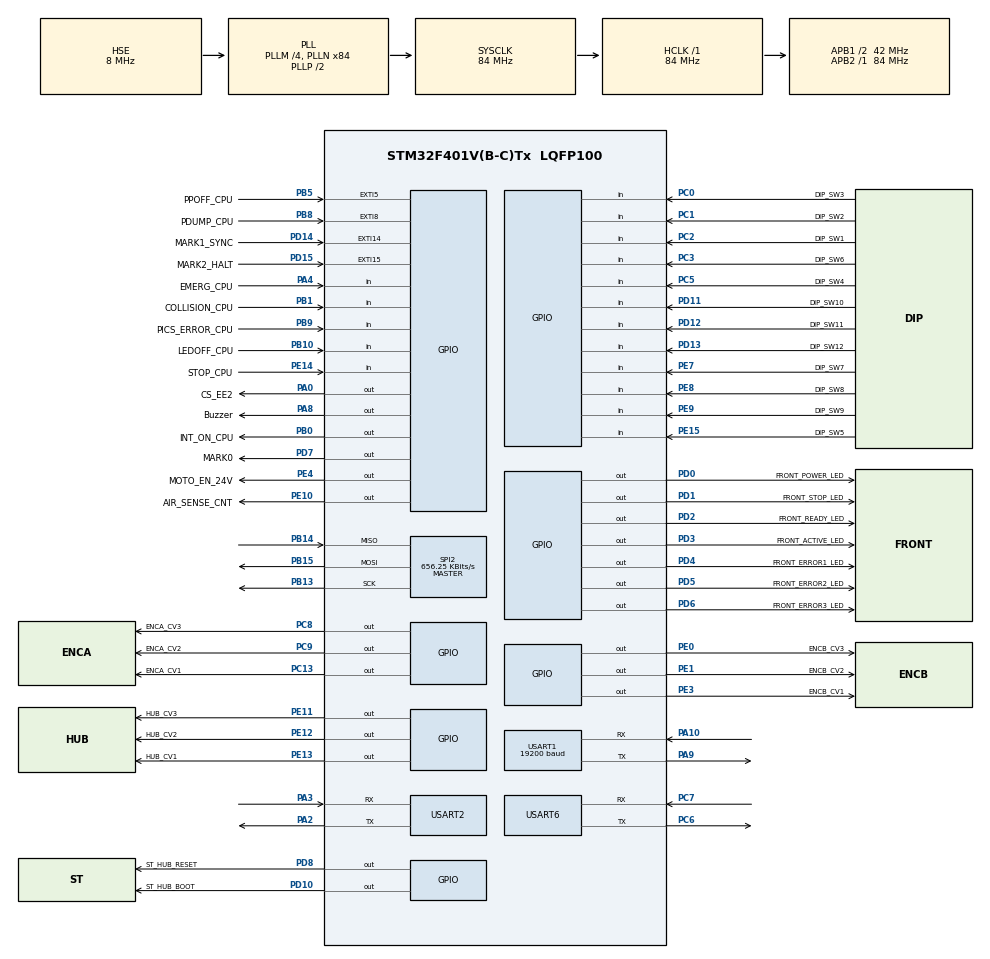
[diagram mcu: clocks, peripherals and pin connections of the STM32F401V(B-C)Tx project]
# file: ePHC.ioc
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Dma.Request0=USART1_TX
Dma.Request1=USART6_TX
Dma.USART1_TX.0.Direction=DMA_MEMORY_TO_PERIPH
Dma.USART1_TX.0.FIFOMode=DMA_FIFOMODE_DISABLE
Dma.USART1_TX.0.Instance=DMA2_Stream7
Dma.USART1_TX.0.MemDataAlignment=DMA_MDATAALIGN_BYTE
Dma.USART1_TX.0.MemInc=DMA_MINC_ENABLE
Dma.USART1_TX.0.Mode=DMA_NORMAL
Dma.USART1_TX.0.PeriphDataAlignment=DMA_PDATAALIGN_BYTE
Dma.USART1_TX.0.PeriphInc=DMA_PINC_DISABLE
Dma.USART1_TX.0.Priority=DMA_PRIORITY_LOW
Dma.USART6_TX.1.Direction=DMA_MEMORY_TO_PERIPH
Dma.USART6_TX.1.FIFOMode=DMA_FIFOMODE_DISABLE
Dma.USART6_TX.1.Instance=DMA2_Stream6
Dma.USART6_TX.1.MemDataAlignment=DMA_MDATAALIGN_BYTE
Dma.USART6_TX.1.MemInc=DMA_MINC_ENABLE
Dma.USART6_TX.1.Mode=DMA_NORMAL
Dma.USART6_TX.1.PeriphDataAlignment=DMA_PDATAALIGN_BYTE
Dma.USART6_TX.1.PeriphInc=DMA_PINC_DISABLE
Dma.USART6_TX.1.Priority=DMA_PRIORITY_LOW
FREERTOS.BinarySemaphores01=Uart6TxSem,Dynamic,NULL,Available;Uart1TxSem,Dynamic,NULL,Available
FREERTOS.INCLUDE_xEventGroupSetBitFromISR=0
FREERTOS.Mutexes01=SIgnalMutex,Dynamic,NULL,Available
FREERTOS.Tasks01=TaskUART1,8,128,StartTaskUART1,Default,NULL,Dynamic,NULL,NULL;TaskUART6,8,128,StartTaskUART6,Default,NULL,Dynamic,NULL,NULL;TaskReadDs,32,128,StartTaskReadDs,Default,NULL,Dynamic,NULL,NULL;TaskSYNC,55,128,StartTaskSYNC,Default,NULL,Dynamic,NULL,NULL;TaskHALT,55,128,StartTaskHALT,Default,NULL,Dynamic,NULL,NULL
FREERTOS.configTIMER_TASK_PRIORITY=32
FREERTOS.configUSE_NEWLIB_REENTRANT=1
Mcu.Family=STM32F4
Mcu.Name=STM32F401V(B-C)Tx
Mcu.Package=LQFP100
NVIC.DMA2_Stream6_IRQn=true\:5\:0\:false\:false\:true\:true\:false\:true\:true
NVIC.DMA2_Stream7_IRQn=true\:5\:0\:false\:false\:true\:true\:false\:true\:true
NVIC.EXTI15_10_IRQn=true\:5\:0\:false\:false\:true\:true\:true\:true\:true
NVIC.EXTI9_5_IRQn=true\:5\:0\:false\:false\:true\:true\:true\:true\:true
NVIC.PriorityGroup=NVIC_PRIORITYGROUP_4
NVIC.TIM1_BRK_TIM9_IRQn=true\:5\:0\:false\:false\:true\:true\:true\:true\:true
NVIC.TIM1_TRG_COM_TIM11_IRQn=true\:5\:0\:false\:false\:true\:true\:true\:true\:true
NVIC.TIM1_UP_TIM10_IRQn=true\:5\:0\:false\:false\:true\:true\:true\:true\:true
NVIC.TIM2_IRQn=true\:15\:0\:false\:false\:true\:false\:false\:true\:true
NVIC.TIM5_IRQn=true\:5\:0\:false\:false\:true\:true\:true\:true\:true
NVIC.TimeBase=TIM2_IRQn
NVIC.TimeBaseIP=TIM2
NVIC.USART1_IRQn=true\:5\:0\:false\:false\:true\:true\:true\:true\:true
NVIC.USART2_IRQn=true\:5\:0\:false\:false\:true\:true\:true\:true\:true
NVIC.USART6_IRQn=true\:5\:0\:false\:false\:true\:true\:true\:true\:true
PA0-WKUP.GPIO_Label=CS_EE2
PA0-WKUP.Signal=GPIO_Output
PA10.Mode=Asynchronous
PA10.Signal=USART1_RX
PA13.Mode=JTAG_5_pins
PA13.Signal=SYS_JTMS-SWDIO
PA14.Mode=JTAG_5_pins
PA14.Signal=SYS_JTCK-SWCLK
PA15.Mode=JTAG_5_pins
PA15.Signal=SYS_JTDI
PA2.Mode=Asynchronous
PA2.Signal=USART2_TX
PA3.Mode=Asynchronous
PA3.Signal=USART2_RX
PA4.GPIO_Label=EMERG_CPU
PA4.Signal=GPIO_Input
PA8.GPIO_Label=Buzzer
PA8.Signal=GPIO_Output
PA9.Mode=Asynchronous
PA9.Signal=USART1_TX
PB0.GPIO_Label=INT_ON_CPU
PB0.Signal=GPIO_Output
PB1.GPIO_Label=COLLISION_CPU
PB1.Signal=GPIO_Input
PB10.GPIO_Label=LEDOFF_CPU
PB10.Signal=GPIO_Input
PB13.Mode=Full_Duplex_Master
PB13.Signal=SPI2_SCK
PB14.Mode=Full_Duplex_Master
PB14.Signal=SPI2_MISO
PB15.Mode=Full_Duplex_Master
PB15.Signal=SPI2_MOSI
PB3.Mode=JTAG_5_pins
PB3.Signal=SYS_JTDO-SWO
PB4.Mode=JTAG_5_pins
PB4.Signal=SYS_JTRST
PB5.GPIO_Label=PPOFF_CPU
PB5.GPIO_ModeDefaultEXTI=GPIO_MODE_IT_RISING_FALLING
PB5.Signal=GPXTI5
PB8.GPIO_Label=PDUMP_CPU
PB8.GPIO_ModeDefaultEXTI=GPIO_MODE_IT_RISING_FALLING
PB8.Signal=GPXTI8
PB9.GPIO_Label=PICS_ERROR_CPU
PB9.Signal=GPIO_Input
PC0.GPIO_Label=DIP_SW3
PC0.Signal=GPIO_Input
PC1.GPIO_Label=DIP_SW2
PC1.Signal=GPIO_Input
PC13-ANTI_TAMP.GPIO_Label=ENCA_CV1
PC13-ANTI_TAMP.Signal=GPIO_Output
PC2.GPIO_Label=DIP_SW1
PC2.Signal=GPIO_Input
PC3.GPIO_Label=DIP_SW6
PC3.Signal=GPIO_Input
PC5.GPIO_Label=DIP_SW4
PC5.Signal=GPIO_Input
PC6.Mode=Asynchronous
PC6.Signal=USART6_TX
PC7.Mode=Asynchronous
PC7.Signal=USART6_RX
PC8.GPIO_Label=ENCA_CV3
PC8.Signal=GPIO_Output
PC9.GPIO_Label=ENCA_CV2
PC9.Signal=GPIO_Output
PD0.GPIO_Label=FRONT_POWER_LED
PD0.Signal=GPIO_Output
PD1.GPIO_Label=FRONT_STOP_LED
PD1.Signal=GPIO_Output
PD10.GPIO_Label=ST_HUB_BOOT
PD10.Signal=GPIO_Output
PD11.GPIO_Label=DIP_SW10
PD11.Signal=GPIO_Input
PD12.GPIO_Label=DIP_SW11
PD12.Signal=GPIO_Input
PD13.GPIO_Label=DIP_SW12
PD13.Signal=GPIO_Input
PD14.GPIO_Label=MARK1_SYNC
PD14.GPIO_ModeDefaultEXTI=GPIO_MODE_IT_RISING_FALLING
PD14.Signal=GPXTI14
PD15.GPIO_Label=MARK2_HALT
PD15.GPIO_ModeDefaultEXTI=GPIO_MODE_IT_RISING_FALLING
PD15.Signal=GPXTI15
PD2.GPIO_Label=FRONT_READY_LED
PD2.Signal=GPIO_Output
PD3.GPIO_Label=FRONT_ACTIVE_LED
PD3.Signal=GPIO_Output
PD4.GPIO_Label=FRONT_ERROR1_LED
PD4.Signal=GPIO_Output
PD5.GPIO_Label=FRONT_ERROR2_LED
PD5.Signal=GPIO_Output
PD6.GPIO_Label=FRONT_ERROR3_LED
PD6.Signal=GPIO_Output
PD7.GPIO_Label=MARK0
PD7.Signal=GPIO_Output
PD8.GPIO_Label=ST_HUB_RESET
PD8.Signal=GPIO_Output
PE0.GPIO_Label=ENCB_CV3
PE0.Signal=GPIO_Output
PE1.GPIO_Label=ENCB_CV2
PE1.Signal=GPIO_Output
PE10.GPIO_Label=AIR_SENSE_CNT
PE10.PinState=GPIO_PIN_SET
PE10.Signal=GPIO_Output
PE11.GPIO_Label=HUB_CV3
PE11.Signal=GPIO_Output
PE12.GPIO_Label=HUB_CV2
PE12.Signal=GPIO_Output
PE13.GPIO_Label=HUB_CV1
PE13.Signal=GPIO_Output
PE14.GPIO_Label=STOP_CPU
PE14.Signal=GPIO_Input
PE15.GPIO_Label=DIP_SW5
PE15.Signal=GPIO_Input
PE3.GPIO_Label=ENCB_CV1
PE3.Signal=GPIO_Output
PE4.GPIO_Label=MOTO_EN_24V
PE4.Signal=GPIO_Output
PE7.GPIO_Label=DIP_SW7
PE7.Signal=GPIO_Input
PE8.GPIO_Label=DIP_SW8
PE8.Signal=GPIO_Input
PE9.GPIO_Label=DIP_SW9
PE9.Signal=GPIO_Input
PH0\ -\ OSC_IN.Mode=HSE-External-Oscillator
PH0\ -\ OSC_IN.Signal=RCC_OSC_IN
PH1\ -\ OSC_OUT.Mode=HSE-External-Oscillator
PH1\ -\ OSC_OUT.Signal=RCC_OSC_OUT
ProjectManager.HeapSize=0x200
ProjectManager.StackSize=0x400
ProjectManager.TargetToolchain=CMake
RCC.48MHZClocksFreq_Value=42000000
RCC.AHBFreq_Value=84000000
RCC.APB1CLKDivider=RCC_HCLK_DIV2
RCC.APB1Freq_Value=42000000
RCC.APB1TimFreq_Value=84000000
RCC.APB2Freq_Value=84000000
RCC.APB2TimFreq_Value=84000000
RCC.CortexFreq_Value=84000000
RCC.HCLKFreq_Value=84000000
RCC.HSE_VALUE=8000000
RCC.HSI_VALUE=16000000
RCC.LSE_VALUE=32768
RCC.PLLM=4
RCC.PLLN=84
RCC.PLLSourceVirtual=RCC_PLLSOURCE_HSE
RCC.SYSCLKFreq_VALUE=84000000
RCC.SYSCLKSource=RCC_SYSCLKSOURCE_PLLCLK
RCC.VCOOutputFreq_Value=168000000
SPI2.BaudRatePrescaler=SPI_BAUDRATEPRESCALER_64
SPI2.CalculateBaudRate=656.25 KBits/s
SPI2.Direction=SPI_DIRECTION_2LINES
SPI2.Mode=SPI_MODE_MASTER
SPI2.VirtualType=VM_MASTER
TIM10.Period=10000
TIM10.Prescaler=840
TIM11.Period=50000
TIM11.Prescaler=8400
TIM5.AutoReloadPreload=TIM_AUTORELOAD_PRELOAD_ENABLE
TIM5.Period=100 - 1
TIM5.Prescaler=84 - 1
TIM9.AutoReloadPreload=TIM_AUTORELOAD_PRELOAD_ENABLE
TIM9.Period=1000-1
TIM9.Prescaler=84-1
USART1.BaudRate=19200
USART1.VirtualMode=VM_ASYNC
USART2.VirtualMode=VM_ASYNC
USART6.VirtualMode=VM_ASYNC
VP_FREERTOS_VS_CMSIS_V2.Mode=CMSIS_V2
VP_SYS_VS_tim2.Mode=TIM2
VP_TIM10_VS_ClockSourceINT.Mode=Enable_Timer
VP_TIM11_VS_ClockSourceINT.Mode=Enable_Timer
VP_TIM5_VS_ClockSourceINT.Mode=Internal
VP_TIM9_VS_ClockSourceINT.Mode=Internal
board=custom

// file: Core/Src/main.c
/* USER CODE BEGIN Header */
/**
 ******************************************************************************
 * @file           : main.c
 * @brief          : Main program body
 ******************************************************************************
 * @attention
 *
 * Copyright (c) 2025 STMicroelectronics.
 * All rights reserved.
 *
 * This software is licensed under terms that can be found in the LICENSE file
 * in the root directory of this software component.
 * If no LICENSE file comes with this software, it is provided AS-IS.
 *
 ******************************************************************************
 */
/* USER CODE END Header */
#include "main.h"
#include "cmsis_os.h"

/* USER CODE BEGIN Includes */
#include "communication.h"
/* USER CODE END Includes */

SPI_HandleTypeDef hspi2;

TIM_HandleTypeDef htim5;
TIM_HandleTypeDef htim9;
TIM_HandleTypeDef htim10;
TIM_HandleTypeDef htim11;

UART_HandleTypeDef huart1;
UART_HandleTypeDef huart2;
UART_HandleTypeDef huart6;
DMA_HandleTypeDef hdma_usart1_tx;
DMA_HandleTypeDef hdma_usart6_tx;

/* Definitions for TaskUART1 */
osThreadId_t TaskUART1Handle;
/**
 * @brief UART1 Communication Task - Handles incoming data from CMM Controller
 * @details Stack increased to 2048 bytes (512*4) to accommodate nested function calls
 *          and local variable storage without stack overflow risk.
 *          Memory usage: 5 tasks × 2KB = 10KB (16% of 64KB available RAM)
 */
const osThreadAttr_t TaskUART1_attributes = {
    .name = "TaskUART1",
    .stack_size = 512 * 4, /* FIXED: Increased from 128*4 (512B) to 512*4 (2048B) to prevent stack overflow */
    .priority = (osPriority_t)osPriorityLow,
};
/* Definitions for TaskUART6 */
osThreadId_t TaskUART6Handle;
const osThreadAttr_t TaskUART6_attributes = {
    .name = "TaskUART6",
    .stack_size = 512 * 4,
    .priority = (osPriority_t)osPriorityLow,
};
/* Definitions for TaskReadDs */
osThreadId_t TaskReadDsHandle;
const osThreadAttr_t TaskReadDs_attributes = {
    .name = "TaskReadDs",
    .stack_size = 512 * 4,
    .priority = (osPriority_t)osPriorityAboveNormal,
};
/* Definitions for TaskSYNC */
osThreadId_t TaskSYNCHandle;
const osThreadAttr_t TaskSYNC_attributes = {
    .name = "TaskSYNC",
    .stack_size = 512 * 4,
    .priority = (osPriority_t)osPriorityRealtime7,
};
/* Definitions for TaskHALT */
osThreadId_t TaskHALTHandle;
const osThreadAttr_t TaskHALT_attributes = {
    .name = "TaskHALT",
    .stack_size = 512 * 4,
    .priority = (osPriority_t)osPriorityRealtime7,
};
/**
 * @brief Signal Mutex - Protects shared resources between HALT and SYNC tasks
 * @details Prevents race conditions when accessing u8IsFirstHaltArrived and u8IsInTp20Measurement
 */
extern osMutexId_t SignalMutexHandle;
const osMutexAttr_t SignalMutex_attributes = {
    .name = "SignalMutex"};
/* Definitions for Uart6TxSem */
osSemaphoreId_t Uart6TxSemHandle;
const osSemaphoreAttr_t Uart6TxSem_attributes = {
    .name = "Uart6TxSem"};
/* Definitions for Uart1TxSem */
osSemaphoreId_t Uart1TxSemHandle;
const osSemaphoreAttr_t Uart1TxSem_attributes = {
    .name = "Uart1TxSem"};

void SystemClock_Config(void);
static void MX_GPIO_Init(void);
static void MX_DMA_Init(void);
static void MX_SPI2_Init(void);
static void MX_USART1_UART_Init(void);
static void MX_USART2_UART_Init(void);
static void MX_USART6_UART_Init(void);
static void MX_TIM9_Init(void);
static void MX_TIM5_Init(void);
static void MX_TIM10_Init(void);
static void MX_TIM11_Init(void);
void StartTaskUART1(void *argument);
void StartTaskUART6(void *argument);
void StartTaskReadDs(void *argument);
void StartTaskSYNC(void *argument);
void StartTaskHALT(void *argument);

int main(void)
{

  /* MCU Configuration--------------------------------------------------------*/

  /* Reset of all peripherals, Initializes the Flash interface and the Systick. */
  HAL_Init();

  /* Configure the system clock */
  SystemClock_Config();

  /* USER CODE BEGIN SysInit */
  HAL_Delay(20000); // Wait for 20 seconds to allow Communication stabilization
  /* USER CODE END SysInit */

  /* Initialize all configured peripherals */
  MX_GPIO_Init();
  MX_DMA_Init();
  MX_SPI2_Init();
  MX_USART1_UART_Init();
  MX_USART2_UART_Init();
  MX_USART6_UART_Init();
  MX_TIM9_Init();
  MX_TIM5_Init();
  MX_TIM10_Init();
  MX_TIM11_Init();
  /* USER CODE BEGIN 2 */
  Initialize();
  EmptyUartBuffers();
  HAL_UART_Receive_IT(&huart1, (uint8_t *)au8RxBufCmm.uaiDataArray, 1);
  HAL_UART_Receive_IT(&huart6, (uint8_t *)au8RxBufAcs.uaiDataArray, 1);

  /* USER CODE END 2 */

  /* Init scheduler */
  osKernelInitialize();
  /* Create the mutex(es) */
  /* creation of SignalMutex */
  SignalMutexHandle = osMutexNew(&SignalMutex_attributes);

  /* Create the semaphores(s) */
  /* creation of Uart6TxSem */
  Uart6TxSemHandle = osSemaphoreNew(1, 1, &Uart6TxSem_attributes);

  /* creation of Uart1TxSem */
  Uart1TxSemHandle = osSemaphoreNew(1, 1, &Uart1TxSem_attributes);

  /* Create the thread(s) */
  /* creation of TaskUART1 */
  TaskUART1Handle = osThreadNew(StartTaskUART1, NULL, &TaskUART1_attributes);
  /* FIX: Verify thread creation - if NULL allocation fails, RTOS cannot operate */
  if (TaskUART1Handle == NULL)
    Error_Handler();

  /* creation of TaskUART6 */
  TaskUART6Handle = osThreadNew(StartTaskUART6, NULL, &TaskUART6_attributes);
  /* FIX: Verify thread creation - this task handles critical ACS communication */
  if (TaskUART6Handle == NULL)
    Error_Handler();

  /* creation of TaskReadDs */
  TaskReadDsHandle = osThreadNew(StartTaskReadDs, NULL, &TaskReadDs_attributes);
  /* FIX: Verify thread creation - prevents system crash if memory allocation fails */
  if (TaskReadDsHandle == NULL)
    Error_Handler();

  /* creation of TaskSYNC */
  TaskSYNCHandle = osThreadNew(StartTaskSYNC, NULL, &TaskSYNC_attributes);
  /* FIX: Verify thread creation - synchronization task is real-time critical */
  if (TaskSYNCHandle == NULL)
    Error_Handler();

  /* creation of TaskHALT */
  TaskHALTHandle = osThreadNew(StartTaskHALT, NULL, &TaskHALT_attributes);
  /* FIX: Verify thread creation - handles critical hardware shutdown signals */
  if (TaskHALTHandle == NULL)
    Error_Handler();

  /* Start scheduler */
  osKernelStart();

  /* We should never get here as control is now taken by the scheduler */

  /* Infinite loop */
  while (1)
  {

  }
}

void SystemClock_Config(void)
{
  RCC_OscInitTypeDef RCC_OscInitStruct = {0};
  RCC_ClkInitTypeDef RCC_ClkInitStruct = {0};

  /** Configure the main internal regulator output voltage
   */
  __HAL_RCC_PWR_CLK_ENABLE();
  __HAL_PWR_VOLTAGESCALING_CONFIG(PWR_REGULATOR_VOLTAGE_SCALE2);

  /** Initializes the RCC Oscillators according to the specified parameters
   * in the RCC_OscInitTypeDef structure.
   */
  RCC_OscInitStruct.OscillatorType = RCC_OSCILLATORTYPE_HSE;
  RCC_OscInitStruct.HSEState = RCC_HSE_ON;
  RCC_OscInitStruct.PLL.PLLState = RCC_PLL_ON;
  RCC_OscInitStruct.PLL.PLLSource = RCC_PLLSOURCE_HSE;
  RCC_OscInitStruct.PLL.PLLM = 4;
  RCC_OscInitStruct.PLL.PLLN = 84;
  RCC_OscInitStruct.PLL.PLLP = RCC_PLLP_DIV2;
  RCC_OscInitStruct.PLL.PLLQ = 4;
  if (HAL_RCC_OscConfig(&RCC_OscInitStruct) != HAL_OK)
  {
    Error_Handler();
  }

  /** Initializes the CPU, AHB and APB buses clocks
   */
  RCC_ClkInitStruct.ClockType = RCC_CLOCKTYPE_HCLK | RCC_CLOCKTYPE_SYSCLK | RCC_CLOCKTYPE_PCLK1 | RCC_CLOCKTYPE_PCLK2;
  RCC_ClkInitStruct.SYSCLKSource = RCC_SYSCLKSOURCE_PLLCLK;
  RCC_ClkInitStruct.AHBCLKDivider = RCC_SYSCLK_DIV1;
  RCC_ClkInitStruct.APB1CLKDivider = RCC_HCLK_DIV2;
  RCC_ClkInitStruct.APB2CLKDivider = RCC_HCLK_DIV1;

  if (HAL_RCC_ClockConfig(&RCC_ClkInitStruct, FLASH_LATENCY_2) != HAL_OK)
  {
    Error_Handler();
  }
}

static void MX_SPI2_Init(void)
{

  /* SPI2 parameter configuration*/
  hspi2.Instance = SPI2;
  hspi2.Init.Mode = SPI_MODE_MASTER;
  hspi2.Init.Direction = SPI_DIRECTION_2LINES;
  hspi2.Init.DataSize = SPI_DATASIZE_8BIT;
  hspi2.Init.CLKPolarity = SPI_POLARITY_LOW;
  hspi2.Init.CLKPhase = SPI_PHASE_1EDGE;
  hspi2.Init.NSS = SPI_NSS_SOFT;
  hspi2.Init.BaudRatePrescaler = SPI_BAUDRATEPRESCALER_64;
  hspi2.Init.FirstBit = SPI_FIRSTBIT_MSB;
  hspi2.Init.TIMode = SPI_TIMODE_DISABLE;
  hspi2.Init.CRCCalculation = SPI_CRCCALCULATION_DISABLE;
  hspi2.Init.CRCPolynomial = 10;
  if (HAL_SPI_Init(&hspi2) != HAL_OK)
  {
    Error_Handler();
  }
}

static void MX_TIM5_Init(void)
{

  TIM_ClockConfigTypeDef sClockSourceConfig = {0};
  TIM_MasterConfigTypeDef sMasterConfig = {0};

  htim5.Instance = TIM5;
  htim5.Init.Prescaler = 84 - 1;
  htim5.Init.CounterMode = TIM_COUNTERMODE_UP;
  htim5.Init.Period = 100 - 1;
  htim5.Init.ClockDivision = TIM_CLOCKDIVISION_DIV1;
  htim5.Init.AutoReloadPreload = TIM_AUTORELOAD_PRELOAD_ENABLE;
  if (HAL_TIM_Base_Init(&htim5) != HAL_OK)
  {
    Error_Handler();
  }
  sClockSourceConfig.ClockSource = TIM_CLOCKSOURCE_INTERNAL;
  if (HAL_TIM_ConfigClockSource(&htim5, &sClockSourceConfig) != HAL_OK)
  {
    Error_Handler();
  }
  sMasterConfig.MasterOutputTrigger = TIM_TRGO_RESET;
  sMasterConfig.MasterSlaveMode = TIM_MASTERSLAVEMODE_DISABLE;
  if (HAL_TIMEx_MasterConfigSynchronization(&htim5, &sMasterConfig) != HAL_OK)
  {
    Error_Handler();
  }
}

static void MX_TIM9_Init(void)
{

  TIM_ClockConfigTypeDef sClockSourceConfig = {0};

  htim9.Instance = TIM9;
  htim9.Init.Prescaler = 84 - 1;
  htim9.Init.CounterMode = TIM_COUNTERMODE_UP;
  htim9.Init.Period = 1000 - 1;
  htim9.Init.ClockDivision = TIM_CLOCKDIVISION_DIV1;
  htim9.Init.AutoReloadPreload = TIM_AUTORELOAD_PRELOAD_ENABLE;
  if (HAL_TIM_Base_Init(&htim9) != HAL_OK)
  {
    Error_Handler();
  }
  sClockSourceConfig.ClockSource = TIM_CLOCKSOURCE_INTERNAL;
  if (HAL_TIM_ConfigClockSource(&htim9, &sClockSourceConfig) != HAL_OK)
  {
    Error_Handler();
  }
}

static void MX_TIM10_Init(void)
{

  htim10.Instance = TIM10;
  htim10.Init.Prescaler = 840;
  htim10.Init.CounterMode = TIM_COUNTERMODE_UP;
  htim10.Init.Period = 10000;
  htim10.Init.ClockDivision = TIM_CLOCKDIVISION_DIV1;
  htim10.Init.AutoReloadPreload = TIM_AUTORELOAD_PRELOAD_DISABLE;
  if (HAL_TIM_Base_Init(&htim10) != HAL_OK)
  {
    Error_Handler();
  }
}

static void MX_TIM11_Init(void)
{

  htim11.Instance = TIM11;
  htim11.Init.Prescaler = 8400;
  htim11.Init.CounterMode = TIM_COUNTERMODE_UP;
  htim11.Init.Period = 50000;
  htim11.Init.ClockDivision = TIM_CLOCKDIVISION_DIV1;
  htim11.Init.AutoReloadPreload = TIM_AUTORELOAD_PRELOAD_DISABLE;
  if (HAL_TIM_Base_Init(&htim11) != HAL_OK)
  {
    Error_Handler();
  }
}

static void MX_USART1_UART_Init(void)
{

  huart1.Instance = USART1;
  huart1.Init.BaudRate = 19200;
  huart1.Init.WordLength = UART_WORDLENGTH_8B;
  huart1.Init.StopBits = UART_STOPBITS_1;
  huart1.Init.Parity = UART_PARITY_NONE;
  huart1.Init.Mode = UART_MODE_TX_RX;
  huart1.Init.HwFlowCtl = UART_HWCONTROL_NONE;
  huart1.Init.OverSampling = UART_OVERSAMPLING_16;
  if (HAL_UART_Init(&huart1) != HAL_OK)
  {
    Error_Handler();
  }
}

static void MX_USART2_UART_Init(void)
{

  huart2.Instance = USART2;
  huart2.Init.BaudRate = 115200;
  huart2.Init.WordLength = UART_WORDLENGTH_8B;
  huart2.Init.StopBits = UART_STOPBITS_1;
  huart2.Init.Parity = UART_PARITY_NONE;
  huart2.Init.Mode = UART_MODE_TX_RX;
  huart2.Init.HwFlowCtl = UART_HWCONTROL_NONE;
  huart2.Init.OverSampling = UART_OVERSAMPLING_16;
  if (HAL_UART_Init(&huart2) != HAL_OK)
  {
    Error_Handler();
  }
}

static void MX_USART6_UART_Init(void)
{

  huart6.Instance = USART6;
  huart6.Init.BaudRate = 115200;
  huart6.Init.WordLength = UART_WORDLENGTH_8B;
  huart6.Init.StopBits = UART_STOPBITS_1;
  huart6.Init.Parity = UART_PARITY_NONE;
  huart6.Init.Mode = UART_MODE_TX_RX;
  huart6.Init.HwFlowCtl = UART_HWCONTROL_NONE;
  huart6.Init.OverSampling = UART_OVERSAMPLING_16;
  if (HAL_UART_Init(&huart6) != HAL_OK)
  {
    Error_Handler();
  }
}

static void MX_DMA_Init(void)
{

  /* DMA controller clock enable */
  __HAL_RCC_DMA2_CLK_ENABLE();

  /* DMA interrupt init */
  /* DMA2_Stream6_IRQn interrupt configuration */
  HAL_NVIC_SetPriority(DMA2_Stream6_IRQn, 5, 0);
  HAL_NVIC_EnableIRQ(DMA2_Stream6_IRQn);
  /* DMA2_Stream7_IRQn interrupt configuration */
  HAL_NVIC_SetPriority(DMA2_Stream7_IRQn, 5, 0);
  HAL_NVIC_EnableIRQ(DMA2_Stream7_IRQn);
}

static void MX_GPIO_Init(void)
{
  GPIO_InitTypeDef GPIO_InitStruct = {0};

  /* GPIO Ports Clock Enable */
  __HAL_RCC_GPIOE_CLK_ENABLE();
  __HAL_RCC_GPIOC_CLK_ENABLE();
  __HAL_RCC_GPIOH_CLK_ENABLE();
  __HAL_RCC_GPIOA_CLK_ENABLE();
  __HAL_RCC_GPIOB_CLK_ENABLE();
  __HAL_RCC_GPIOD_CLK_ENABLE();

  /*Configure GPIO pin Output Level */
  HAL_GPIO_WritePin(GPIOE, ENCB_CV1_Pin | MOTO_EN_24V_Pin | HUB_CV3_Pin | HUB_CV2_Pin | HUB_CV1_Pin | ENCB_CV3_Pin | ENCB_CV2_Pin, GPIO_PIN_RESET);

  /*Configure GPIO pin Output Level */
  HAL_GPIO_WritePin(GPIOC, ENCA_CV1_Pin | ENCA_CV3_Pin | ENCA_CV2_Pin, GPIO_PIN_RESET);

  /*Configure GPIO pin Output Level */
  HAL_GPIO_WritePin(GPIOA, CS_EE2_Pin | Buzzer_Pin, GPIO_PIN_RESET);

  /*Configure GPIO pin Output Level */
  HAL_GPIO_WritePin(INT_ON_CPU_GPIO_Port, INT_ON_CPU_Pin, GPIO_PIN_RESET);

  /*Configure GPIO pin Output Level */
  HAL_GPIO_WritePin(AIR_SENSE_CNT_GPIO_Port, AIR_SENSE_CNT_Pin, GPIO_PIN_SET);

  /*Configure GPIO pin Output Level */
  HAL_GPIO_WritePin(GPIOD, ST_HUB_RESET_Pin | ST_HUB_BOOT_Pin | FRONT_POWER_LED_Pin | FRONT_STOP_LED_Pin | FRONT_READY_LED_Pin | FRONT_ACTIVE_LED_Pin | FRONT_ERROR1_LED_Pin | FRONT_ERROR2_LED_Pin | FRONT_ERROR3_LED_Pin | MARK0_Pin, GPIO_PIN_RESET);

  /*Configure GPIO pins : ENCB_CV1_Pin MOTO_EN_24V_Pin AIR_SENSE_CNT_Pin HUB_CV3_Pin
                           HUB_CV2_Pin HUB_CV1_Pin ENCB_CV3_Pin ENCB_CV2_Pin */
  GPIO_InitStruct.Pin = ENCB_CV1_Pin | MOTO_EN_24V_Pin | AIR_SENSE_CNT_Pin | HUB_CV3_Pin | HUB_CV2_Pin | HUB_CV1_Pin | ENCB_CV3_Pin | ENCB_CV2_Pin;
  GPIO_InitStruct.Mode = GPIO_MODE_OUTPUT_PP;
  GPIO_InitStruct.Pull = GPIO_NOPULL;
  GPIO_InitStruct.Speed = GPIO_SPEED_FREQ_LOW;
  HAL_GPIO_Init(GPIOE, &GPIO_InitStruct);

  /*Configure GPIO pins : ENCA_CV1_Pin ENCA_CV3_Pin ENCA_CV2_Pin */
  GPIO_InitStruct.Pin = ENCA_CV1_Pin | ENCA_CV3_Pin | ENCA_CV2_Pin;
  GPIO_InitStruct.Mode = GPIO_MODE_OUTPUT_PP;
  GPIO_InitStruct.Pull = GPIO_NOPULL;
  GPIO_InitStruct.Speed = GPIO_SPEED_FREQ_LOW;
  HAL_GPIO_Init(GPIOC, &GPIO_InitStruct);

  /*Configure GPIO pins : DIP_SW3_Pin DIP_SW2_Pin DIP_SW1_Pin DIP_SW6_Pin
                           DIP_SW4_Pin */
  GPIO_InitStruct.Pin = DIP_SW3_Pin | DIP_SW2_Pin | DIP_SW1_Pin | DIP_SW6_Pin | DIP_SW4_Pin;
  GPIO_InitStruct.Mode = GPIO_MODE_INPUT;
  GPIO_InitStruct.Pull = GPIO_NOPULL;
  HAL_GPIO_Init(GPIOC, &GPIO_InitStruct);

  /*Configure GPIO pins : CS_EE2_Pin Buzzer_Pin */
  GPIO_InitStruct.Pin = CS_EE2_Pin | Buzzer_Pin;
  GPIO_InitStruct.Mode = GPIO_MODE_OUTPUT_PP;
  GPIO_InitStruct.Pull = GPIO_NOPULL;
  GPIO_InitStruct.Speed = GPIO_SPEED_FREQ_LOW;
  HAL_GPIO_Init(GPIOA, &GPIO_InitStruct);

  /*Configure GPIO pin : EMERG_CPU_Pin */
  GPIO_InitStruct.Pin = EMERG_CPU_Pin;
  GPIO_InitStruct.Mode = GPIO_MODE_INPUT;
  GPIO_InitStruct.Pull = GPIO_NOPULL;
  HAL_GPIO_Init(EMERG_CPU_GPIO_Port, &GPIO_InitStruct);

  /*Configure GPIO pin : INT_ON_CPU_Pin */
  GPIO_InitStruct.Pin = INT_ON_CPU_Pin;
  GPIO_InitStruct.Mode = GPIO_MODE_OUTPUT_PP;
  GPIO_InitStruct.Pull = GPIO_NOPULL;
  GPIO_InitStruct.Speed = GPIO_SPEED_FREQ_LOW;
  HAL_GPIO_Init(INT_ON_CPU_GPIO_Port, &GPIO_InitStruct);

  /*Configure GPIO pins : COLLISION_CPU_Pin LEDOFF_CPU_Pin PICS_ERROR_CPU_Pin */
  GPIO_InitStruct.Pin = COLLISION_CPU_Pin | LEDOFF_CPU_Pin | PICS_ERROR_CPU_Pin;
  GPIO_InitStruct.Mode = GPIO_MODE_INPUT;
  GPIO_InitStruct.Pull = GPIO_NOPULL;
  HAL_GPIO_Init(GPIOB, &GPIO_InitStruct);

  /*Configure GPIO pins : DIP_SW7_Pin DIP_SW8_Pin DIP_SW9_Pin STOP_CPU_Pin
                           DIP_SW5_Pin */
  GPIO_InitStruct.Pin = DIP_SW7_Pin | DIP_SW8_Pin | DIP_SW9_Pin | STOP_CPU_Pin | DIP_SW5_Pin;
  GPIO_InitStruct.Mode = GPIO_MODE_INPUT;
  GPIO_InitStruct.Pull = GPIO_NOPULL;
  HAL_GPIO_Init(GPIOE, &GPIO_InitStruct);

  /*Configure GPIO pins : ST_HUB_RESET_Pin ST_HUB_BOOT_Pin FRONT_POWER_LED_Pin FRONT_STOP_LED_Pin
                           FRONT_READY_LED_Pin FRONT_ACTIVE_LED_Pin FRONT_ERROR1_LED_Pin FRONT_ERROR2_LED_Pin
                           FRONT_ERROR3_LED_Pin MARK0_Pin */
  GPIO_InitStruct.Pin = ST_HUB_RESET_Pin | ST_HUB_BOOT_Pin | FRONT_POWER_LED_Pin | FRONT_STOP_LED_Pin | FRONT_READY_LED_Pin | FRONT_ACTIVE_LED_Pin | FRONT_ERROR1_LED_Pin | FRONT_ERROR2_LED_Pin | FRONT_ERROR3_LED_Pin | MARK0_Pin;
  GPIO_InitStruct.Mode = GPIO_MODE_OUTPUT_PP;
  GPIO_InitStruct.Pull = GPIO_NOPULL;
  GPIO_InitStruct.Speed = GPIO_SPEED_FREQ_LOW;
  HAL_GPIO_Init(GPIOD, &GPIO_InitStruct);

  /*Configure GPIO pins : DIP_SW10_Pin DIP_SW11_Pin DIP_SW12_Pin */
  GPIO_InitStruct.Pin = DIP_SW10_Pin | DIP_SW11_Pin | DIP_SW12_Pin;
  GPIO_InitStruct.Mode = GPIO_MODE_INPUT;
  GPIO_InitStruct.Pull = GPIO_NOPULL;
  HAL_GPIO_Init(GPIOD, &GPIO_InitStruct);

  /*Configure GPIO pins : MARK1_SYNC_Pin MARK2_HALT_Pin */
  GPIO_InitStruct.Pin = MARK1_SYNC_Pin | MARK2_HALT_Pin;
  GPIO_InitStruct.Mode = GPIO_MODE_IT_RISING_FALLING;
  GPIO_InitStruct.Pull = GPIO_NOPULL;
  HAL_GPIO_Init(GPIOD, &GPIO_InitStruct);

  /*Configure GPIO pins : PPOFF_CPU_Pin PDUMP_CPU_Pin */
  GPIO_InitStruct.Pin = PPOFF_CPU_Pin | PDUMP_CPU_Pin;
  GPIO_InitStruct.Mode = GPIO_MODE_IT_RISING_FALLING;
  GPIO_InitStruct.Pull = GPIO_NOPULL;
  HAL_GPIO_Init(GPIOB, &GPIO_InitStruct);

  /* EXTI interrupt init*/
  HAL_NVIC_SetPriority(EXTI9_5_IRQn, 5, 0);
  HAL_NVIC_EnableIRQ(EXTI9_5_IRQn);

  HAL_NVIC_SetPriority(EXTI15_10_IRQn, 5, 0);
  HAL_NVIC_EnableIRQ(EXTI15_10_IRQn);

}

void StartTaskUART1(void *argument)
{
  /* USER CODE BEGIN 5 */
  (void)argument;
  uint32_t flag;
  /* Infinite loop */
  for (;;)
  {
    flag = osThreadFlagsWait(EVENT_DATA_READY | EVENT_ERROR, osFlagsWaitAny, osWaitForever);
    if (flag == EVENT_DATA_READY)
    {
      vPortEnterCritical();
      uint8_t sizeToCopy = au8RxBufAcs.uSize;
      memcpy(au8TxBufCmm.uaiDataArray, (uint8_t *)au8RxBufAcs.uaiDataArray, sizeToCopy);
      vPortExitCritical();

      if (osSemaphoreAcquire(Uart1TxSemHandle, osWaitForever) == osOK)
      {
        if (SendData(&huart1, au8TxBufCmm.uaiDataArray, sizeToCopy) == HAL_OK)
        {
          HAL_UART_Receive_IT(&huart6, (uint8_t *)&au8RxBufAcs.uaiDataArray[0], 1);
          HAL_UART_Receive_IT(&huart1, (uint8_t *)&au8RxBufCmm.uaiDataArray[0], 1);
        }
        else
        {
          ResetCommunication();
          EmptyUartBuffers();
        }
      }
      else
      {
        ResetCommunication();
        EmptyUartBuffers();
      }
    }
    else if (flag == EVENT_ERROR)
    {
      ResetCommunication();
      EmptyUartBuffers();
    }
  }
  /* USER CODE END 5 */
}

void StartTaskUART6(void *argument)
{
  /* USER CODE BEGIN StartTaskUART6 */
  (void)argument;
  uint32_t flag;
  /* Infinite loop */
  for (;;)
  {
    flag = osThreadFlagsWait(EVENT_DATA_READY | EVENT_ERROR, osFlagsWaitAny, osWaitForever);

    if (flag == EVENT_ERROR)
    {
      ResetCommunication();
      EmptyUartBuffers();
    }

    else if (flag == EVENT_DATA_READY)
    {
      HAL_TIM_Base_Stop_IT(&htim10);

      vPortEnterCritical();
      uint8_t sizeToCopy = au8RxBufCmm.uSize;
      memcpy(au8TxBufAcs.uaiDataArray, (uint8_t *)au8RxBufCmm.uaiDataArray, sizeToCopy);
      vPortExitCritical();

      if (osSemaphoreAcquire(Uart6TxSemHandle, osWaitForever) == osOK)
      {
        if (SendData(&huart6, au8TxBufAcs.uaiDataArray, sizeToCopy) == HAL_OK)
        {
          HAL_UART_Receive_IT(&huart6, (uint8_t *)&au8RxBufAcs.uaiDataArray[0], 1);
          HAL_UART_Receive_IT(&huart1, (uint8_t *)&au8RxBufCmm.uaiDataArray[0], 1);
        }
        else
        {
          ResetCommunication();
          EmptyUartBuffers();
        }
      }
    }
  }
  /* USER CODE END StartTaskUART6 */
}

void StartTaskReadDs(void *argument)
{
  /* USER CODE BEGIN StartTaskReadDs */
  (void)argument;
  /* Infinite loop */
  for (;;)
  {
    DipSwitchStatus();
    Tp20CheckForError();
    osDelay(1);
  }
  /* USER CODE END StartTaskReadDs */
}

void StartTaskSYNC(void *argument)
{
  /* USER CODE BEGIN StartTaskSYNC */
  (void)argument;
  /* Infinite loop */
  for (;;)
  {
    uint32_t event_flags = ulTaskNotifyTake(pdTRUE, portMAX_DELAY);
    /** @brief Process SYNC_CPU interrupt - initiates measurement synchronization */
    if (osMutexAcquire(SignalMutexHandle, osWaitForever) == osOK)
    {
      /* FIX: Handle EVENT_ERROR signal from ISR timeout (line 215 in stm32f4xx_it.c)
         This is the safe place to call ResetSynkAndHalt() with mutex protection */
      if (event_flags & EVENT_ERROR)
      {
        ResetSynkAndHalt();
      }

      // Interrupt SYNK_CPU
      if (HAL_GPIO_ReadPin(MARK1_SYNC_GPIO_Port, MARK1_SYNC_Pin) == IN_SNYC_ON) // falling
      {
        if ((!u8IsFirstSnycArrived) && (gpPdumpStatus == IN_PDAMP_OFF))
        {
          u8IsFirstSnycArrived = TRUE;
          u8IsInTp20Measurement = 1;
          TriggerToAcsControl(GPIO_PIN_SET);
          u161MilliSecondCounter = 0;
        }
      }
      else if (u8IsFirstHaltArrived) // rising
      {
        ResetSynkAndHalt();
      }
      osMutexRelease(SignalMutexHandle);
    }
  }
  /* USER CODE END StartTaskSYNC */
}

void StartTaskHALT(void *argument)
{
  /* USER CODE BEGIN StartTaskHALT */
  (void)argument;
  /* Infinite loop */
  for (;;)
  {
    ulTaskNotifyTake(pdTRUE, portMAX_DELAY);
    /** @brief Process HALT_CPU interrupt - triggers measurement shutdown sequence */
    /* FIX: Mutex MUST be released ONLY if successfully acquired
       Moving release inside if-block prevents dangling release if acquire fails */
    if (osMutexAcquire(SignalMutexHandle, osWaitForever) == osOK)
    {
      if ((!u8IsFirstHaltArrived) && (u8IsInTp20Measurement) && (u161MilliSecondCounter >= SNYK_WAIT_TIME) && (u161MilliSecondCounter <= HALT_TIME_OFF))
      {
        u8IsFirstHaltArrived = TRUE;
        TriggerToAcsControl(GPIO_PIN_SET);
      }
      osMutexRelease(SignalMutexHandle);
    }
  }
  /* USER CODE END StartTaskHALT */
}

void HAL_TIM_PeriodElapsedCallback(TIM_HandleTypeDef *htim)
{
  if (htim->Instance == TIM2)
  {
    HAL_IncTick();
  }
}

void Error_Handler(void)
{
  __disable_irq();
  while (1)
  {
  }
}
